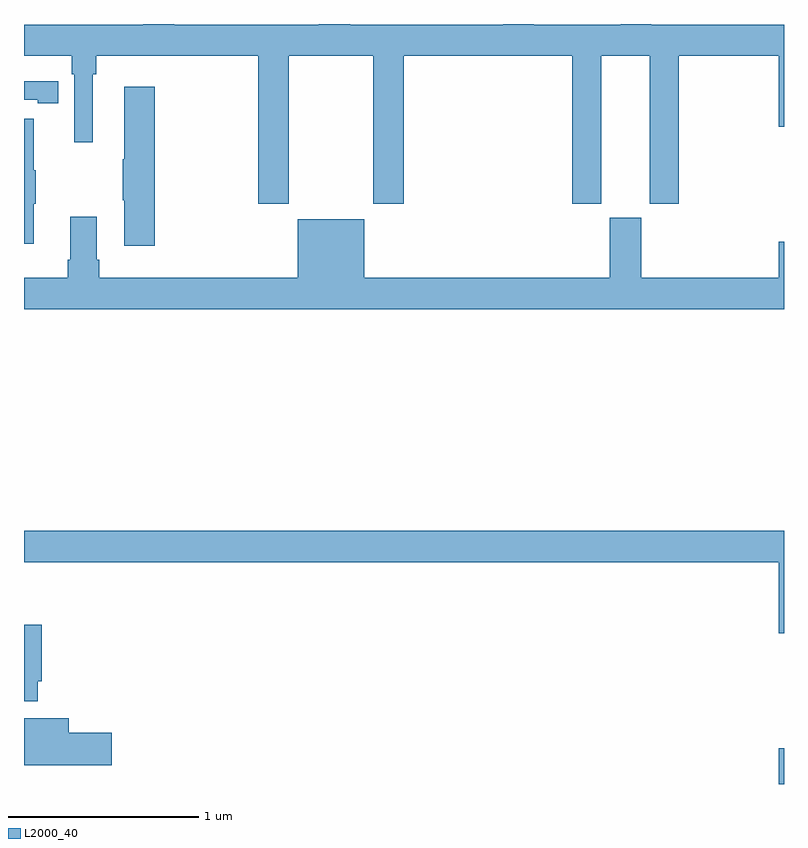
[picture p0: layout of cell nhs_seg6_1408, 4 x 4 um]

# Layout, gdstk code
import gdstk
lib = gdstk.Library(unit=1e-6, precision=1e-09)
def R(c, l, rs):  # rectangles x0, y0, x1, y1
    for r in rs: c.add(gdstk.rectangle(r[:2], r[2:], *l))
def P(c, l, *ps):  # polygons
    for p in ps: c.add(gdstk.Polygon(p, *l))
L2000_40 = (2000, 40)

nhs_seg6_1408 = lib.new_cell('nhs_seg6_1408')
R(nhs_seg6_1408, L2000_40, [(200.972,947.5,201,947.689)])
P(nhs_seg6_1408, L2000_40, [(198.233,950.553),(198.393,950.553),(198.393,951.332),(198.838,951.332),(198.838,950.553),(198.998,950.553),(198.998,951.332),(199.886,951.332),(199.886,950.553),(200.038,950.553),(200.038,951.332),(200.294,951.332),(200.294,950.553),(200.447,950.553),(200.447,951.332),(200.972,951.332),(200.972,950.958),(201,950.958),(201,951.496),(200.3,951.496),(200.3,951.5),(200.14,951.5),(200.14,951.496),(199.683,951.496),(199.683,951.5),(199.523,951.5),(199.523,951.496),(198.716,951.496),(198.716,951.5),(198.551,951.5),(198.551,951.496),(197.792,951.496),(197.792,951.5),(197.627,951.5),(197.627,951.496),(197,951.496),(197,951.332),(197.252,951.332),(197.252,951.236),(197.265,951.236),(197.265,950.877),(197.362,950.877),(197.362,951.236),(197.381,951.236),(197.381,951.332),(198.233,951.332)],
  [(197.18,951.198),(197.072,951.198),(197.072,951.199),(197,951.199),(197,951.102),(197.072,951.102),(197.072,951.082),(197.18,951.082)],
  [(197.687,951.169),(197.528,951.169),(197.528,950.789),(197.521,950.789),(197.521,950.572),(197.528,950.572),(197.528,950.334),(197.687,950.334)],
  [(197.051,950.555),(197.062,950.555),(197.062,950.729),(197.051,950.729),(197.051,951.001),(197,951.001),(197,950.343),(197.051,950.343)],
  [(201,950.353),(200.972,950.353),(200.972,950.164),(200.248,950.164),(200.248,950.481),(200.084,950.481),(200.084,950.164),(198.79,950.164),(198.79,950.473),(198.44,950.473),(198.44,950.164),(197.396,950.164),(197.396,950.26),(197.383,950.26),(197.383,950.485),(197.243,950.485),(197.243,950.26),(197.231,950.26),(197.231,950.164),(197,950.164),(197,950),(201,950)],
  [(201,948.832),(197,948.832),(197,948.668),(200.972,948.668),(200.972,948.294),(201,948.294)],
  [(197.073,948.04),(197.093,948.04),(197.093,948.337),(197,948.337),(197,947.936),(197.073,947.936)],
  [(197.461,947.771),(197.236,947.771),(197.236,947.845),(197,947.845),(197,947.6),(197.461,947.6)])

lib.write_gds('nhs_seg6_1408.gds')
